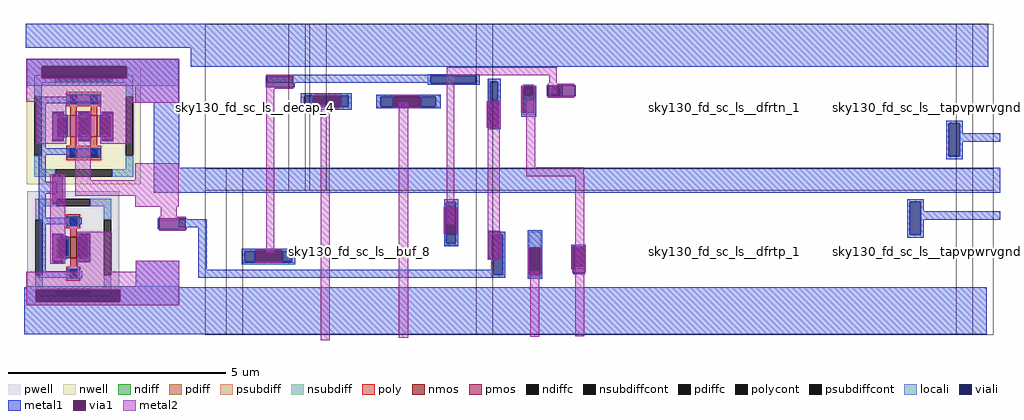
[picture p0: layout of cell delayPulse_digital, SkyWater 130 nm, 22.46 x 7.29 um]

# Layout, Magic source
magic
tech sky130A
magscale 1 2
<< locali >>
rect 42106 -285972 42347 -285968
rect 42106 -286006 42121 -285972
rect 42329 -286006 42347 -285972
rect 42106 -286013 42347 -286006
rect 42386 -285999 42442 -285986
rect 41522 -286065 41756 -286053
rect 41522 -286116 41537 -286065
rect 41740 -286116 41756 -286065
rect 41522 -286129 41756 -286116
rect 41870 -286068 42167 -286060
rect 41870 -286114 41890 -286068
rect 42143 -286114 42167 -286068
rect 41870 -286121 42167 -286114
rect 42386 -286202 42394 -285999
rect 42430 -286202 42442 -285999
rect 42545 -286028 42597 -286025
rect 42545 -286062 42554 -286028
rect 42588 -286062 42597 -286028
rect 42545 -286153 42597 -286062
rect 42660 -286027 42722 -286020
rect 42660 -286068 42678 -286027
rect 42713 -286068 42722 -286027
rect 42660 -286074 42722 -286068
rect 42386 -286217 42442 -286202
rect 42182 -286555 42246 -286542
rect 42182 -286744 42192 -286555
rect 42235 -286744 42246 -286555
rect 42182 -286753 42246 -286744
rect 42398 -286704 42464 -286691
rect 41250 -286780 41496 -286768
rect 41250 -286829 41265 -286780
rect 41481 -286829 41496 -286780
rect 41250 -286842 41496 -286829
rect 42398 -286888 42410 -286704
rect 42453 -286888 42464 -286704
rect 42398 -286903 42464 -286888
rect 42574 -286764 42626 -286690
rect 42574 -286890 42577 -286764
rect 42623 -286890 42626 -286764
rect 42777 -286768 42824 -286761
rect 42777 -286848 42780 -286768
rect 42821 -286848 42824 -286768
rect 42777 -286854 42824 -286848
rect 42574 -286899 42626 -286890
<< viali >>
rect 42121 -286006 42329 -285972
rect 41537 -286116 41740 -286065
rect 41890 -286114 42143 -286068
rect 42394 -286202 42430 -285999
rect 42554 -286062 42588 -286028
rect 42678 -286068 42713 -286027
rect 44505 -286342 44556 -286190
rect 42192 -286744 42235 -286555
rect 41265 -286829 41481 -286780
rect 42410 -286888 42453 -286704
rect 44325 -286704 44376 -286552
rect 42577 -286890 42623 -286764
rect 42780 -286848 42821 -286768
<< metal1 >>
rect 40255 -285844 44687 -285733
rect 40846 -286395 40963 -285897
rect 41015 -285931 44687 -285844
rect 42106 -285967 42347 -285966
rect 41363 -285972 42347 -285967
rect 41363 -286004 42121 -285972
rect 42106 -286006 42121 -286004
rect 42329 -286006 42347 -285972
rect 42106 -286013 42347 -286006
rect 42383 -285999 42442 -285986
rect 41522 -286065 41756 -286053
rect 41522 -286116 41537 -286065
rect 41740 -286116 41756 -286065
rect 41522 -286129 41756 -286116
rect 41870 -286068 42167 -286060
rect 41870 -286114 41890 -286068
rect 42143 -286114 42167 -286068
rect 41870 -286121 42167 -286114
rect 42383 -286202 42394 -285999
rect 42430 -286202 42442 -285999
rect 42538 -286028 42605 -286019
rect 42538 -286062 42554 -286028
rect 42588 -286062 42605 -286028
rect 42538 -286162 42605 -286062
rect 42661 -286027 42728 -286015
rect 42661 -286068 42678 -286027
rect 42713 -286068 42728 -286027
rect 42661 -286074 42728 -286068
rect 42383 -286217 42442 -286202
rect 44493 -286190 44569 -286179
rect 44493 -286342 44505 -286190
rect 44556 -286236 44569 -286190
rect 44556 -286276 44741 -286236
rect 44556 -286342 44569 -286276
rect 44493 -286356 44569 -286342
rect 40846 -286512 44741 -286395
rect 42182 -286555 42246 -286542
rect 40960 -286670 41089 -286632
rect 41051 -286865 41089 -286670
rect 42182 -286744 42192 -286555
rect 42235 -286744 42246 -286555
rect 44313 -286552 44389 -286541
rect 42388 -286704 42464 -286691
rect 42388 -286711 42410 -286704
rect 42182 -286758 42246 -286744
rect 41250 -286780 41496 -286768
rect 41250 -286829 41265 -286780
rect 41481 -286829 41496 -286780
rect 41250 -286836 41496 -286829
rect 42398 -286865 42410 -286711
rect 41051 -286888 42410 -286865
rect 42453 -286888 42464 -286704
rect 41051 -286903 42464 -286888
rect 42566 -286764 42633 -286683
rect 44313 -286704 44325 -286552
rect 44376 -286596 44389 -286552
rect 44376 -286636 44741 -286596
rect 44376 -286704 44389 -286636
rect 44313 -286718 44389 -286704
rect 42566 -286890 42577 -286764
rect 42623 -286890 42633 -286764
rect 42768 -286768 42833 -286751
rect 42768 -286848 42780 -286768
rect 42821 -286848 42833 -286768
rect 42768 -286863 42833 -286848
rect 42566 -286907 42633 -286890
rect 40248 -287162 44680 -286945
<< metal2 >>
rect 42193 -285969 42701 -285934
rect 40878 -286642 40952 -286567
rect 41363 -286788 41400 -286004
rect 41614 -287190 41656 -286105
rect 41974 -287179 42016 -286094
rect 42193 -286656 42228 -285969
rect 42666 -286055 42701 -285969
rect 42382 -286819 42437 -286087
rect 42560 -286394 42601 -286084
rect 42560 -286427 42824 -286394
rect 42560 -286435 42826 -286427
rect 42579 -287173 42620 -286873
rect 42785 -287172 42826 -286435
use por_via_2cut  por_via_2cut_185
transform 0 1 50703 -1 0 -270664
box 16088 -7932 16222 -7868
use por_via_2cut  por_via_2cut_188
transform 1 0 24776 0 1 -278754
box 16088 -7932 16222 -7868
use por_via_2cut  por_via_2cut_191
transform 0 1 50310 -1 0 -269996
box 16088 -7932 16222 -7868
use por_via_2cut  por_via_2cut_192
transform 0 1 50314 -1 0 -270597
box 16088 -7932 16222 -7868
use por_via_2cut  por_via_2cut_193
transform 0 1 50113 -1 0 -270483
box 16088 -7932 16222 -7868
use por_via_2cut  por_via_2cut_194
transform -1 0 57529 0 -1 -294702
box 16088 -7932 16222 -7868
use por_via_2cut  por_via_2cut_195
transform 0 1 50472 -1 0 -269926
box 16088 -7932 16222 -7868
use por_via_2cut  por_via_2cut_196
transform -1 0 58876 0 -1 -293941
box 16088 -7932 16222 -7868
use por_via_2cut  por_via_2cut_197
transform -1 0 57582 0 -1 -293900
box 16088 -7932 16222 -7868
use por_via_2cut  por_via_2cut_198
transform -1 0 57799 0 -1 -293991
box 16088 -7932 16222 -7868
use por_via_2cut  por_via_2cut_199
transform -1 0 58166 0 -1 -293991
box 16088 -7932 16222 -7868
use por_via_2cut  por_via_2cut_201
transform 0 1 50500 -1 0 -270670
box 16088 -7932 16222 -7868
use sky130_fd_sc_ls__buf_8  sky130_fd_sc_ls__buf_8_0 $PDKPATH/libs.ref/sky130_fd_sc_ls/mag
transform 1 0 41217 0 1 -287116
box -38 -49 1190 715
use sky130_fd_sc_ls__decap_4  sky130_fd_sc_ls__decap_4_0 $PDKPATH/libs.ref/sky130_fd_sc_ls/mag
transform 1 0 41121 0 -1 -285784
box -38 -49 422 715
use sky130_fd_sc_ls__dfrtn_1  sky130_fd_sc_ls__dfrtn_1_0 $PDKPATH/libs.ref/sky130_fd_sc_ls/mag
transform 1 0 42369 0 -1 -285784
box -38 -49 2246 715
use sky130_fd_sc_ls__dfrtp_1  sky130_fd_sc_ls__dfrtp_1_0 $PDKPATH/libs.ref/sky130_fd_sc_ls/mag
transform 1 0 42369 0 1 -287116
box -38 -49 2246 715
use sky130_fd_sc_ls__tapvpwrvgnd_1  sky130_fd_sc_ls__tapvpwrvgnd_1_0 $PDKPATH/libs.ref/sky130_fd_sc_ls/mag
transform 1 0 41505 0 -1 -285784
box -38 -49 134 715
use sky130_fd_sc_ls__tapvpwrvgnd_1  sky130_fd_sc_ls__tapvpwrvgnd_1_1
transform 1 0 44577 0 -1 -285784
box -38 -49 134 715
use sky130_fd_sc_ls__tapvpwrvgnd_1  sky130_fd_sc_ls__tapvpwrvgnd_1_2
transform 1 0 41121 0 1 -287116
box -38 -49 134 715
use sky130_fd_sc_ls__tapvpwrvgnd_1  sky130_fd_sc_ls__tapvpwrvgnd_1_3
transform 1 0 44577 0 1 -287116
box -38 -49 134 715
use sky130_fd_sc_ls__xor2_1  sky130_fd_sc_ls__xor2_1_0 $PDKPATH/libs.ref/sky130_fd_sc_ls/mag
transform 1 0 41601 0 -1 -285784
box -38 -49 806 715
use TieH_1p8  TieH_1p8_0
transform 1 0 39912 0 1 -286191
box 346 -837 1050 296
<< end >>

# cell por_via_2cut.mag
magic
tech sky130A
<< metal1 >>
rect 8044 -3963 8047 -3937
rect 8108 -3963 8111 -3937
<< via1 >>
rect 8047 -3963 8108 -3937
<< metal2 >>
rect 8047 -3937 8108 -3934
rect 8047 -3966 8108 -3963
<< end >>

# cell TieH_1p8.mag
magic
tech sky130A
magscale 1 2
<< locali >>
rect 348 263 1047 294
rect 348 208 418 263
rect 808 208 1047 263
rect 348 172 1047 208
rect 346 -766 1048 -751
rect 346 -821 390 -766
rect 780 -821 1048 -766
rect 346 -837 1048 -821
<< viali >>
rect 418 208 808 263
rect 390 -821 780 -766
<< metal1 >>
rect 848 294 1048 295
rect 348 263 1048 294
rect 348 208 418 263
rect 808 208 1048 263
rect 348 172 1048 208
rect 405 93 690 123
rect 848 95 1048 172
rect 405 -116 435 93
rect 405 -146 690 -116
rect 405 -269 435 -146
rect 405 -325 489 -269
rect 405 -435 435 -325
rect 405 -465 603 -435
rect 405 -682 435 -465
rect 405 -712 605 -682
rect 850 -751 1050 -634
rect 346 -766 1050 -751
rect 346 -821 390 -766
rect 780 -821 1050 -766
rect 346 -834 1050 -821
rect 346 -837 1048 -834
<< via1 >>
rect 418 208 808 263
rect 390 -821 780 -766
<< metal2 >>
rect 346 263 1048 296
rect 346 208 418 263
rect 808 208 1048 263
rect 346 99 1048 208
rect 391 -94 530 99
rect 688 95 1048 99
rect 688 94 1004 95
rect 456 -646 527 -234
rect 573 -262 644 56
rect 688 -95 827 94
rect 849 -262 1049 -184
rect 573 -333 1049 -262
rect 849 -384 1049 -333
rect 580 -684 739 -499
rect 850 -684 1050 -634
rect 346 -766 1050 -684
rect 346 -821 390 -766
rect 780 -821 1050 -766
rect 346 -834 1050 -821
rect 346 -837 1048 -834
use por_via_2cut  por_via_2cut_0
transform 0 1 8512 -1 0 16140
box 16088 -7932 16222 -7868
use por_via_2cut  por_via_2cut_1
transform 0 1 8515 -1 0 15581
box 16088 -7932 16222 -7868
use por_via_2cut  por_via_2cut_2
transform 0 1 8391 -1 0 15849
box 16088 -7932 16222 -7868
use por_via_2cut  por_via_2cut_3
transform 0 1 8393 -1 0 16140
box 16088 -7932 16222 -7868
use por_via_2cut  por_via_2cut_4
transform 0 1 8621 -1 0 16140
box 16088 -7932 16222 -7868
use por_via_2cut  por_via_2cut_5
transform 0 1 8393 -1 0 15580
box 16088 -7932 16222 -7868
use sky130_fd_pr__nfet_01v8_L9ESAD  XM4 paramcells
transform 1 0 563 0 1 -572
box -211 -260 211 260
use sky130_fd_pr__pfet_01v8_XJT6XQ  XM5 paramcells
transform 1 0 611 0 1 -13
box -263 -269 263 269
<< labels >>
flabel metal2 849 -384 1049 -184 0 FreeSans 256 0 0 0 TieH
port 0 nsew
flabel metal2 850 -834 1050 -634 0 FreeSans 256 0 0 0 VSS
port 1 nsew
flabel metal2 848 95 1048 295 0 FreeSans 256 0 0 0 VCC
port 2 nsew
<< end >>

# cell sky130_fd_pr__nfet_01v8_L9ESAD: kit device sky130_fd_pr__nfet_01v8, w 0.5 l 0.15 m 1 nf 1 diffcov 100 polycov 100 guard 1 glc 1 grc 1 gtc 1 gbc 1 tbcov 100 rlcov 100 topc 1 botc 1 poverlap 0 doverlap 1 lmin 0.15 wmin 0.42 compatible {sky130_fd_pr__nfet_01v8 sky130_fd_pr__nfet_01v8_lvt sky130_fd_bs_flash__special_sonosfet_star sky130_fd_pr__nfet_g5v0d10v5 sky130_fd_pr__nfet_05v0_nvt sky130_fd_pr__nfet_03v3_nvt} full_metal 1 viasrc 100 viadrn 100 viagate 100 viagb 0 viagr 0 viagl 0 viagt 0

# cell sky130_fd_pr__pfet_01v8_XJT6XQ: kit device sky130_fd_pr__pfet_01v8, w 0.5 l 0.15 m 1 nf 2 diffcov 100 polycov 100 guard 1 glc 1 grc 1 gtc 1 gbc 1 tbcov 100 rlcov 100 topc 1 botc 1 poverlap 0 doverlap 1 lmin 0.15 wmin 0.42 compatible {sky130_fd_pr__pfet_01v8 sky130_fd_pr__pfet_01v8_lvt sky130_fd_pr__pfet_01v8_hvt sky130_fd_pr__pfet_g5v0d10v5} full_metal 1 viasrc 100 viadrn 100 viagate 100 viagb 0 viagr 0 viagl 0 viagt 0
